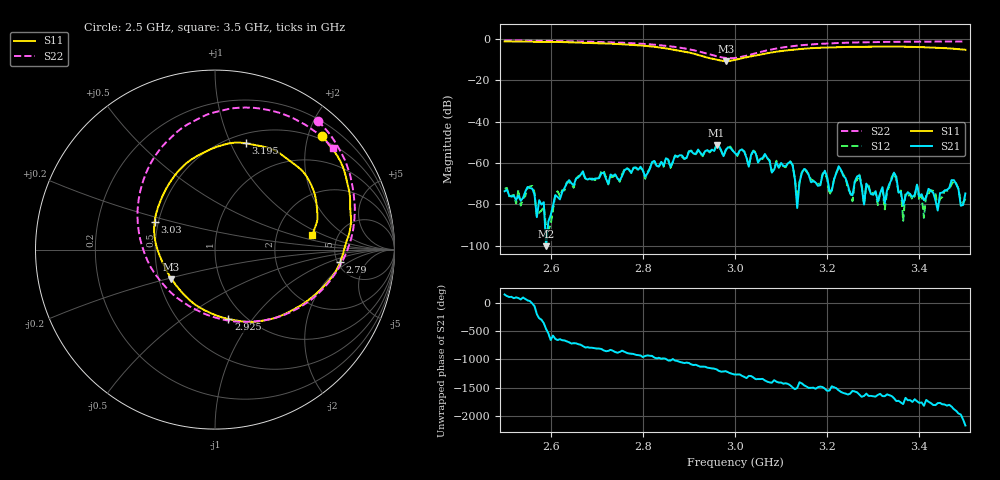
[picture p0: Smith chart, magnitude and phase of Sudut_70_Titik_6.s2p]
# Hz S RI R 50
! CMT, C1220, 16058040, 17.2.0/1
! Date: 15/08/2018 10:16:00
! Data: Format (Calibration Info)
! Freq  S11: Re/Im (F2)  S21: Re/Im (F2)  S12: Re/Im (F2)  S22: Re/Im (F2)
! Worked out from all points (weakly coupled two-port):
!   201 points, 2.5 GHz to 3.5 GHz, reference 50 ohm
!   highest |S21| = -51.56 dB at 2.96 GHz (marker M1); lowest = -100.3 dB at 2.59 GHz (marker M2)
!   lowest |S11| = -10.7 dB at 2.98 GHz (marker M3), VSWR 1.83, Z = 29.1 - j10.4 ohm
!   |S11| at or under -10 dB: 2.958 GHz to 3.003 GHz (44.99 MHz wide, 1.51 % of centre)
!   |S22| runs from -9.3 to -0.7 dB; largest |S21 - S12| = 0.00018
!   S11 on the Smith chart (normalised r, x): 2.5 GHz: 0.43, +2.24; 2.79 GHz: 5.30, -1.43; 2.925 GHz: 0.84, -0.77; 3.03 GHz: 0.48, +0.17; 3.195 GHz: 0.60, +1.14; 3.5 GHz: 3.23, +0.73
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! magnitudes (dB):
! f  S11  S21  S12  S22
! 2.5 GHz  -1.2  -73.7  -72.4  -0.7
! 2.59 GHz  -1.4  -100.3  -91.0  -0.9
! 2.67 GHz  -1.8  -64.1  -65.1  -1.2
! 2.79 GHz  -3.1  -63.3  -63.8  -2.2
! 2.835 GHz  -4.1  -61.7  -61.5  -3.0
! 2.925 GHz  -8.1  -55.2  -55.6  -6.2
! 2.96 GHz  -10.1  -51.6  -51.1  -8.4
! 2.98 GHz  -10.7  -53.7  -53.9  -9.2
! 3 GHz  -10.2  -55.3  -55.3  -9.2
! 3.03 GHz  -8.6  -61.8  -61.7  -7.8
! 3.12 GHz  -5.4  -59.4  -59.2  -3.6
! 3.135 GHz  -5.0  -81.8  -77.5  -3.2
! 3.15 GHz  -4.7  -62.9  -62.6  -2.9
! 3.17 GHz  -4.4  -68.8  -68.6  -2.6
! 3.195 GHz  -4.2  -63.8  -64.6  -2.3
! 3.255 GHz  -3.8  -75.7  -78.6  -1.7
! 3.27 GHz  -3.8  -66.0  -65.7  -1.7
! 3.28 GHz  -3.8  -80.1  -80.2  -1.6
! 3.285 GHz  -3.8  -70.0  -70.9  -1.6
! 3.325 GHz  -3.7  -79.5  -82.5  -1.5
! 3.335 GHz  -3.7  -70.1  -71.1  -1.4
! 3.5 GHz  -5.2  -74.8  -77.3  -1.3
